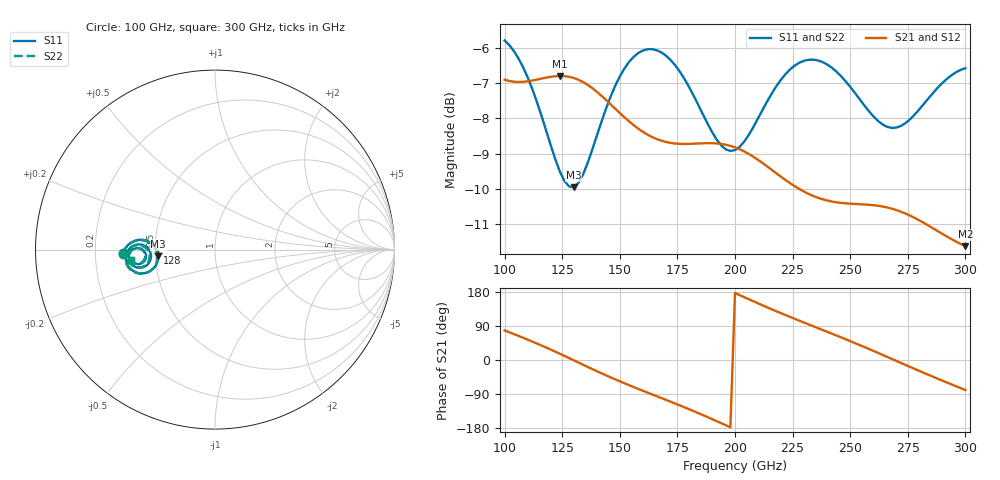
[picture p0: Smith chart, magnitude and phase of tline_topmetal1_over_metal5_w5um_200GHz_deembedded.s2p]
! Created with skrf 2.2.0 (http://scikit-rf.org).
# GHz S DB R 50.0
! Port[1] = P1
! Port[2] = P2
!freq dBS11 angS11 dBS21 angS21 dBS12 angS12 dBS22 angS22
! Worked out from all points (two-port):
!   101 points, 100 GHz to 300 GHz, reference 50 ohm
!   highest |S21| = -6.80 dB at 124 GHz (marker M1); lowest = -11.6 dB at 300 GHz (marker M2)
!   |S21| within 3 dB of the highest: start of sweep to 223.1 GHz
!   lowest |S11| = -9.9 dB at 130 GHz (marker M3), VSWR 1.93, Z = 25.9 - j2.17 ohm
!   |S11| at or under -10 dB: nowhere
!   |S22| runs from -9.8 to -5.8 dB; largest |S21 - S12| = 5.3e-14
!   S11 on the Smith chart (normalised r, x): 100 GHz: 0.32, -0.02; 128 GHz: 0.52, -0.02; 300 GHz: 0.36, -0.05
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100  -5.79 -177.6  -6.91 78.0  -6.91 78.0  -5.76 -177.3
112  -7.16 173.1  -6.93 48.7  -6.93 48.7  -7.12 173.5
124  -9.51 177.2  -6.80 16.4  -6.80 16.4  -9.41 177.7
128  -9.93 -176.7  -6.82 5.0  -6.82 5.0  -9.82 -176.3
130  -9.95 -173.2  -6.85 -0.8  -6.85 -0.8  -9.84 -173.0
134  -9.59 -167.0  -6.97 -12.4  -6.97 -12.4  -9.49 -166.8
142  -8.10 -161.4  -7.36 -35.0  -7.36 -35.0  -8.03 -161.3
150  -6.81 -163.8  -7.85 -56.3  -7.85 -56.3  -6.75 -163.6
158  -6.15 -169.5  -8.29 -76.3  -8.29 -76.3  -6.09 -169.2
168  -6.13 -177.2  -8.63 -100.3  -8.63 -100.3  -6.06 -176.8
178  -6.88 177.1  -8.72 -124.7  -8.72 -124.7  -6.78 177.6
186  -7.87 176.3  -8.70 -145.2  -8.70 -145.2  -7.74 176.8
200  -8.90 -173.3  -8.82 176.8  -8.82 176.8  -8.72 -173.3
208  -8.24 -167.3  -9.09 154.9  -9.09 154.9  -8.09 -167.6
216  -7.29 -166.4  -9.46 133.7  -9.46 133.7  -7.18 -166.8
224  -6.61 -169.2  -9.84 113.4  -9.84 113.4  -6.52 -169.5
234  -6.34 -174.6  -10.20 89.0  -10.20 89.0  -6.27 -174.8
250  -7.11 179.0  -10.42 49.9  -10.42 49.9  -7.03 179.1
260  -7.94 -179.7  -10.46 24.2  -10.46 24.2  -7.84 -179.7
268  -8.27 -175.5  -10.56 3.0  -10.56 3.0  -8.16 -175.6
284  -7.43 -169.2  -11.04 -39.2  -11.04 -39.2  -7.34 -169.5
300  -6.58 -173.0  -11.62 -79.2  -11.62 -79.2  -6.51 -173.2
